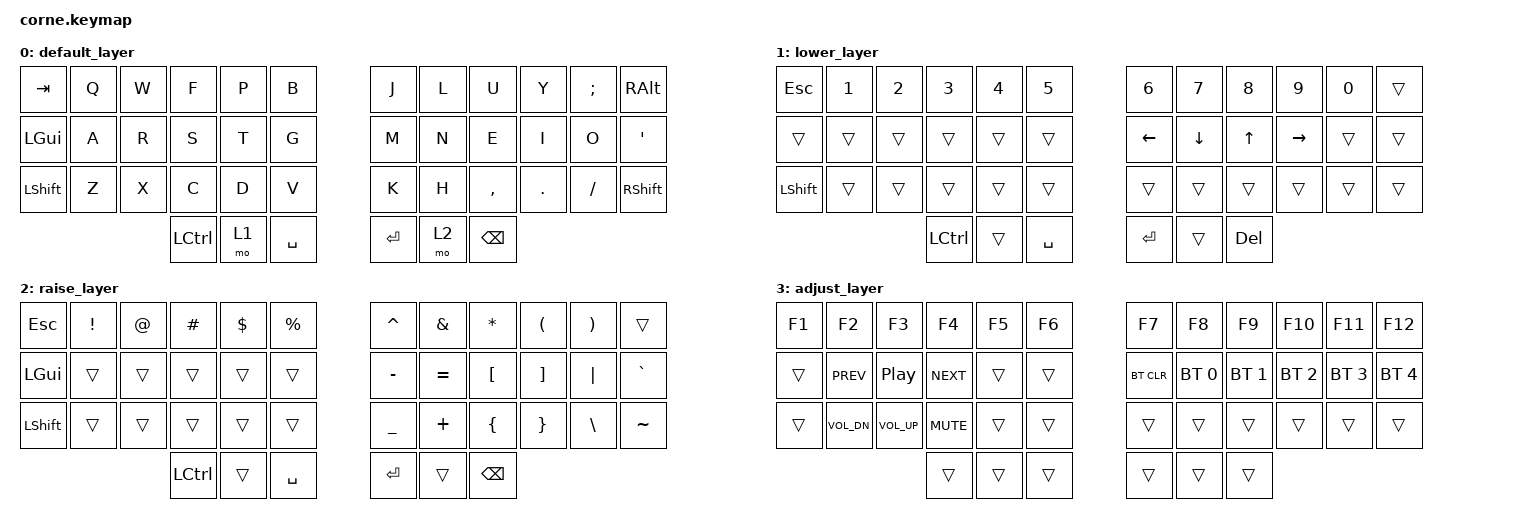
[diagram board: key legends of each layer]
/*
 * Copyright (c) 2020 The ZMK Contributors
 *
 * SPDX-License-Identifier: MIT
 */

#include <behaviors.dtsi>
#include <dt-bindings/zmk/keys.h>
#include <dt-bindings/zmk/bt.h>

/ {
        conditional_layers {
            compatible = "zmk,conditional-layers";
            tri_layer {
                if-layers = <1 2>;
                then-layer = <3>;
            };
        };

        keymap {
                compatible = "zmk,keymap";

                default_layer {
// -----------------------------------------------------------------------------------------
// |  TAB  |  Q  |  W  |  F  |  P  |  B  |   |  J  |  L   |  U  |  Y  |  ;  |  ALT  |
// |  GUI  |  A  |  R  |  S  |  T  |  G  |   |  M  |  N   |  E  |  I  |  O  |   '   |
// | SHIFT |  Z  |  X  |  C  |  D  |  V  |   |  K  |  H   |  ,  |  .  |  /  | SHIFT |
//                    | CTRL | LWR | SPC |   | ENT | RSE  | BSPC |
                        bindings = <
   &kp TAB   &kp Q &kp W     &kp F &kp P       &kp B   &kp J &kp L   &kp U     &kp Y   &kp SEMI &kp RALT
   &kp LGUI  &kp A &kp R     &kp S &kp T       &kp G   &kp M &kp N   &kp E     &kp I   &kp O    &kp SQT
   &kp LSHFT &kp Z &kp X     &kp C &kp D       &kp V   &kp K &kp H   &kp COMMA &kp DOT &kp FSLH &kp RSHFT
                   &kp LCTRL &mo 1 &kp SPACE   &kp RET &mo 2 &kp BSPC
                        >;
                };
                lower_layer {
// -----------------------------------------------------------------------------------------
// |  ESC  |  1  |  2  |  3   |  4  |  5  |   |  6  |  7  |  8   |  9  |  0  |     |
// |       |     |     |      |     |     |   | LFT | DWN |  UP  | RGT |     |     |
// | SHIFT |     |     |      |     |     |   |     |     |      |     |     |     |
//                     | CTRL |     | SPC |   | ENT |     | DEL  |
                        bindings = <
   &kp ESC   &kp N1 &kp N2 &kp N3    &kp N4 &kp N5     &kp N6   &kp N7   &kp N8   &kp N9    &kp N0 &trans
   &trans    &trans &trans &trans    &trans &trans     &kp LEFT &kp DOWN &kp UP   &kp RIGHT &trans &trans
   &kp LSHFT &trans &trans &trans    &trans &trans     &trans   &trans   &trans   &trans    &trans &trans
                           &kp LCTRL &trans &kp SPACE  &kp RET  &trans   &kp DEL
                        >;
                };
                raise_layer {
// -----------------------------------------------------------------------------------------
// |  ESC  |  !  |  @  |  #   |  $  |  %  |   |  ^  |  &  |  *   |  (  |  )  |     |
// |  GUI  |     |     |      |     |     |   |  -  |  =  |  [   |  ]  |  |  |  `  |
// | SHIFT |     |     |      |     |     |   |  _  |  +  |  {   |  }  | "\" |  ~  |
//                     | CTRL |     | SPC |   | ENT |     | BSPC |
                        bindings = <
   &kp ESC   &kp EXCL &kp AT &kp HASH  &kp DLLR &kp PRCNT   &kp CARET &kp AMPS  &kp ASTRK &kp LPAR &kp RPAR &trans
   &kp LGUI  &trans   &trans &trans    &trans   &trans      &kp MINUS &kp EQUAL &kp LBKT  &kp RBKT &kp PIPE &kp GRAVE
   &kp LSHFT &trans   &trans &trans    &trans   &trans      &kp UNDER &kp PLUS  &kp LBRC  &kp RBRC &kp BSLH &kp TILDE
                             &kp LCTRL &trans   &kp SPACE   &kp RET   &trans    &kp BSPC
                        >;
                };
                adjust_layer {
// -----------------------------------------------------------------------------------------
// |  F1  |  F2   |  F3   |  F4  | F5  | F6  |   |  F7   | F8  | F9  | F10 | F11 | F12 |
// |      | PREV  | PLAY  | NEXT |     |     |   |       |     |     |     |     |     |
// |      | VOLDN | VOLUP | MUTE |     |     |   | BTCLR | BT1 | BT2 | BT3 | BT4 | BT5 |
//                        |      |     |     |   |       |     |     |
                        bindings = <
   &kp F1 &kp F2       &kp F3           &kp F4     &kp F5 &kp F6   &kp F7     &kp F8       &kp F9       &kp F10      &kp F11      &kp F12
   &trans &kp C_PREV   &kp C_PLAY_PAUSE &kp C_NEXT &trans &trans   &bt BT_CLR &bt BT_SEL 0 &bt BT_SEL 1 &bt BT_SEL 2 &bt BT_SEL 3 &bt BT_SEL 4
   &trans &kp C_VOL_DN &kp C_VOL_UP     &kp C_MUTE &trans &trans   &trans     &trans       &trans       &trans       &trans       &trans
                                        &trans     &trans &trans   &trans     &trans       &trans
                        >;
                };
        };
};
